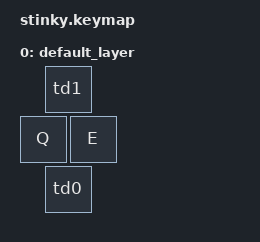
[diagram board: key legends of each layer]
#include <behaviors.dtsi>
#include <dt-bindings/zmk/keys.h>
#include <dt-bindings/zmk/bt.h>

/ {
    behaviors {
        td0: tap_dance_0 {
            compatible = "zmk,behavior-tap-dance";
            #binding-cells = <0>;
            tapping-term-ms = <250>;
            bindings = <&none>, <&none>, <&bt BT_CLR>;
        };
        td1: tap_dance_1 {
            compatible = "zmk,behavior-tap-dance";
            #binding-cells = <0>;
            tapping-term-ms = <250>;
            bindings = <&none>, <&none>, <&bootloader>;
        };
    };

    keymap {
        compatible = "zmk,keymap";

        default_layer { // Layer 0
            bindings = <
                    &td1 
                &kp Q           &kp E
                    &td0
            >;
        };
    };
 };
